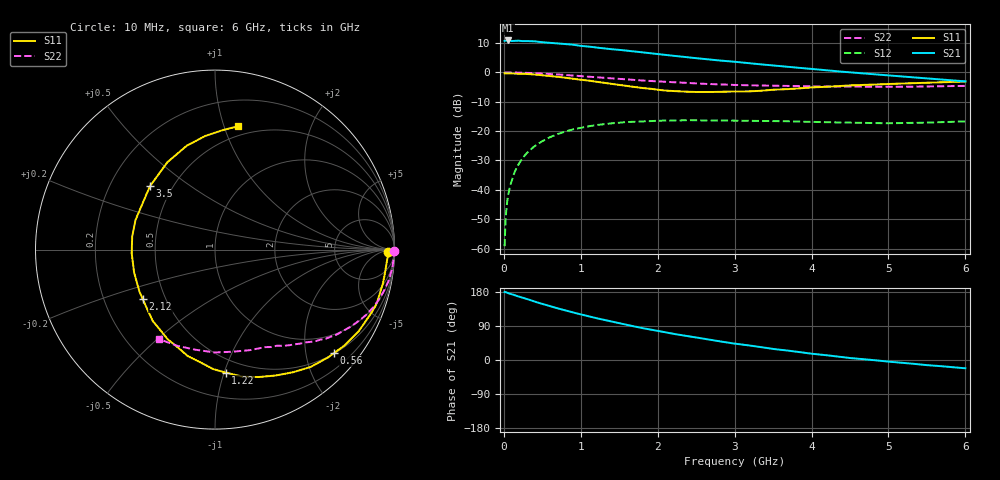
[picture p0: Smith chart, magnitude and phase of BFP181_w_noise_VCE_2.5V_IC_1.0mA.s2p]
! Infineon Technologies  Discrete & RF Semiconductors
! BFP181
! VCE = 2.5 V,  IC =  1.0 mA
! Common Emitter S-Parameters:  Jan 2016
# GHz  S  MA  R  50
!  f  S11  S21  S12  S22
! GHz  MAG  ANG  MAG  ANG  MAG  ANG  MAG  ANG
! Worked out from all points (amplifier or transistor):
!   210 points, 10 MHz to 6 GHz, reference 50 ohm
!   highest |S21| = 10.9 dB at 50 MHz (marker M1)
!   |S21| within 3 dB of that: start of sweep to 1.414 GHz
!   unconditionally stable (mu >= 1): 3.037 GHz to end of sweep
!   at 185 MHz: K = 0.07, MSG = 21.2 dB, |S12| = -31.6 dB
!   at 1.52 GHz: K = 0.53, MSG = 12.4 dB, |S12| = -17.1 dB
!   at 6 GHz: K = 1.29, MAG = 3.6 dB, |S12| = -16.7 dB
!   lowest NFmin = 1.30 dB at 450 MHz
!   S11 on the Smith chart (normalised r, x): 10 MHz: 47, -20; 560 MHz: 0.51, -2.59; 1.22 GHz: 0.39, -1.01; 2.12 GHz: 0.37, -0.27; 3.5 GHz: 0.38, +0.36; 6 GHz: 0.41, +1.12
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0.01  0.9646 -0.9  3.444 179.6  0.0011 90.6  0.9992 -0.3
0.015  0.9642 -1.3  3.454 179.4  0.0018 89.1  0.9945 -0.5
0.025  0.9634 -2.0  3.468 178.9  0.0034 89.3  0.991 -0.9
0.05  0.9615 -3.4  3.493 176.9  0.0073 90.6  0.9966 -1.8
0.12  0.9553 -8.9  3.427 172.4  0.0171 83.2  0.9948 -4.1
0.22  0.9494 -16.5  3.43 165.7  0.0311 79.2  0.9885 -7.6
0.4  0.9209 -29.6  3.381 154.0  0.0553 70.7  0.9697 -13.6
0.56  0.8792 -40.9  3.219 144.4  0.0742 62.9  0.9457 -18.6
0.8  0.81 -57.5  3.051 130.6  0.0983 53.2  0.903 -25.2
1.02  0.7442 -72.5  2.809 119.3  0.1153 44.8  0.8585 -30.8
1.22  0.6873 -85.1  2.633 109.6  0.1277 38.2  0.8237 -35.3
1.6  0.5832 -110.8  2.336 92.5  0.1426 28.3  0.7605 -42.0
1.8  0.5417 -124.4  2.19 84.2  0.1462 23.8  0.7266 -45.3
2.02  0.5028 -138.8  2.035 76.1  0.1505 19.4  0.7009 -48.5
2.12  0.4883 -145.4  1.969 72.4  0.151 17.6  0.6889 -50.1
2.6  0.4645 -177.4  1.697 56.1  0.1519 10.3  0.6375 -57.1
3.1  0.4724 154.6  1.469 40.7  0.1502 4.6  0.6062 -64.4
3.5  0.506 135.8  1.314 29.2  0.1487 1.6  0.5932 -70.7
4.1  0.561 115.7  1.114 14.6  0.1427 -1.5  0.5754 -81.8
4.5  0.6003 105.1  1.001 5.2  0.1391 -2.7  0.5732 -90.0
5.1  0.6407 93.1  0.868 -6.0  0.1367 -1.0  0.5681 -102.7
6  0.6998 79.3  0.703 -21.9  0.1462 1.3  0.5886 -122.3
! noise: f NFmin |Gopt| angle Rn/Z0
0.45  1.3  0.7  18  0.5
0.9  1.4  0.6  39  0.52
1.8  1.85  0.4  81  0.47
